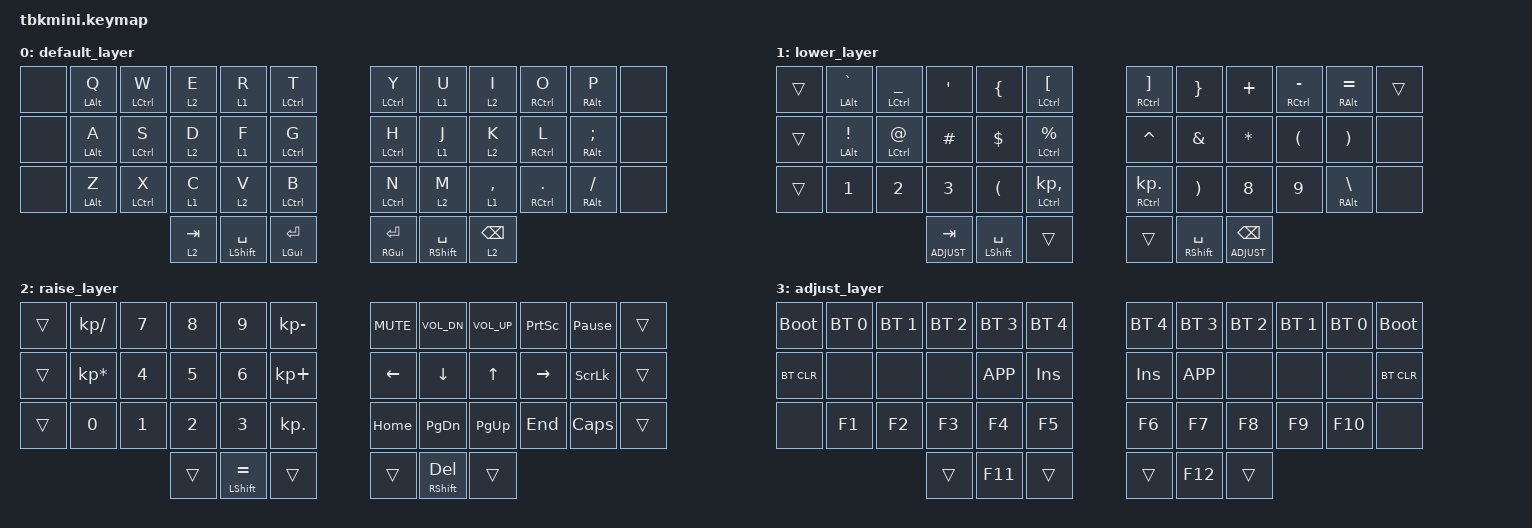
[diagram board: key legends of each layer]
#include <behaviors.dtsi>
#include <dt-bindings/zmk/keys.h>
#include <dt-bindings/zmk/outputs.h>
#include <dt-bindings/zmk/bt.h>

#define QWERTY 0
#define NUMB 1
#define NAVI 2
#define ADJUST 3

&lt {
    quick_tap_ms = <200>;
    flavor = "balanced";
};

&mt {
    quick_tap_ms = <200>;
    flavor = "balanced";
};

/ {
  chosen {
    zmk,matrix_transform = &default_transform;
  };



  behaviors {
    hm: homerow_mods {
      compatible = "zmk,behavior-hold-tap";
      label = "HOMEROW_MODS";
      #binding-cells = <2>;
      tapping-term-ms = <150>;
      quick_tap_ms = <150>;
      flavor = "tap-preferred";
      bindings = <&kp>, <&kp>;
    };
    lm: left_hand_positional_hold_tap {
      compatible = "zmk,behavior-hold-tap";
      label = "LEFT_HOMEROW_MODS";
      #binding-cells = <2>;
      flavor = "tap-unless-interrupted";
      tapping-term-ms = <200>;
      quick-tap-ms = <200>;
      bindings = <&kp>, <&kp>;
      hold-trigger-key-positions = <5 6 7 8 9 15 16 17 18 19 25 26 27 28 29>;
    };
    rm: right_hand_positional_hold_tap {
      compatible = "zmk,behavior-hold-tap";
      label = "RIGHT_HOMEROW_MODS";
      #binding-cells = <2>;
      flavor = "tap-unless-interrupted";
      tapping-term-ms = <200>;
      quick-tap-ms = <200>;
      bindings = <&kp>, <&kp>;
      hold-trigger-key-positions = <0 1 2 3 4 10 11 12 13 14 20 21 22 23 24>;
    };
  };

  combos {
        compatible = "zmk,combos";
        combo_esc_r {
            timeout-ms = <50>;
            key-positions = <3 4>;
            bindings = <&kp ESC>;
        };
        combo_esc_l {
            timeout-ms = <50>;
            key-positions = <7 8>;
            bindings = <&kp ESC>;
        };
        combo_caps_l {
            timeout-ms = <50>;
            key-positions = <2 3>;
            bindings = <&kp CAPS>;
        };
        combo_caps_r {
            timeout-ms = <50>;
            key-positions = <8 9>;
            bindings = <&kp CAPS>;
        };
    };

  keymap {
        compatible = "zmk,keymap";

                default_layer {
// .--------------------------------------------------------------.       .-----------------------------------------------------------.
// |   ESC        |    LALT/Q    |    W   |   E    |    R    |    T    |       |   Y   |    U    |    I    |    O    |     P    |    \     |
// |--------------+---------+--------+--------+---------+---------|       |-------+---------+---------+---------+----------+----------|
// |   CTRL/Tab   |    A    |    S   |   D    |    F    |    G    |       |   H   |    J    |    K    |    L    |     ;    |     '    |
// |--------------+---------+--------+--------+---------+---------|       |-------+---------+---------+---------+----------+----------|
// |   SHFT       |    Z    |    X   |   C    |    V    |    B    |       |   N   |    M    |    ,    |    .    |     /    | ` | ALT  |
// '---------------------------------+--------+---------+---------+       |-------+---------+---------+-------------------------------'
//                                   |  GUI   |   MO1   |   ENT   |       |  SPC  |   BKSP  |  CAPS   |
//                                   '--------+---------+---------'       '-------+---------+---------'
                        bindings = <
  &none &mt LALT Q  &mt LCTRL W    &lt 2 E          &lt 1 R   &mt LCTRL T   &mt LCTRL Y          &lt 1 U      &lt 2 I    &mt RCTRL O     &mt RALT P  &none  
        &none  &mt LALT A  &mt LCTRL S    &lt 2 D          &lt 1 F   &mt LCTRL G   &mt LCTRL H          &lt 1 J      &lt 2 K    &mt RCTRL L  &mt RALT SEMI  &none
        &none  &mt LALT Z  &mt LCTRL X    &lt 1 C          &lt 2 V   &mt LCTRL B   &mt LCTRL N          &lt 2 M  &lt 1 COMMA  &mt RCTRL DOT  &mt RALT FSLH  &none
                                           &lt 2 TAB  &mt LSHFT SPACE  &mt LGUI RET  &mt RGUI RET  &mt RSHFT SPACE   &lt 2 BSPC
            >;
                };
		
lower_layer {
// .--------------------------------------------------------------.       .-----------------------------------------------------------.
// |   ESC        |    1    |    2   |   3    |    4    |    5    |       |   6   |    7    |    8    |    9    |     0    |    `     |
// |--------------+---------+--------+--------+---------+---------|       |-------+---------+---------+---------+----------+----------|
// |              |    !    |    @   |   #    |    $    |    %    |       |   ^   |    &    |    *    |    (    |     )    |     :    |
// |--------------+---------+--------+--------+---------+---------|       |-------+---------+---------+---------+----------+----------|
// |   SHFT       |         |    +   |   -    |    {    |    [    |       |   ]   |    }    |    =    |    _    |          |          |
// '---------------------------------+--------+---------+---------+       |-------+---------+---------+-------------------------------'
//                                   |  GUI   |         |   MO3   |       |   ,   |    .    |   ?     |
//                                   '--------+---------+---------'       '-------+---------+---------'
                        bindings = <
   &trans  &mt LALT GRAVE  &mt LCTRL UNDER  &kp SINGLE_QUOTE   &kp LEFT_BRACE  &mt LCTRL LEFT_BRACKET  &mt RCTRL RIGHT_BRACKET  &kp RIGHT_BRACE  &kp PLUS  &mt RCTRL MINUS  &mt RALT EQUAL  &trans 
        &trans   &mt LALT EXCL     &mt LCTRL AT          &kp HASH         &kp DLLR         &mt LCTRL PRCNT                &kp CARET         &kp AMPS  &kp STAR         &kp LPAR        &kp RPAR  &none
        &trans          &kp N1           &kp N2            &kp N3         &kp LPAR      &mt LCTRL KP_COMMA         &mt RCTRL KP_DOT         &kp RPAR    &kp N8           &kp N9   &mt RALT BSLH  &none
                                                           &lt ADJUST TAB  &mt LSHFT SPACE                  &trans                   &trans   &mt RSHFT SPACE    &lt ADJUST BSPC
            >;
                };
                
                raise_layer {
// .----------------------------------------------------------------.       .-----------------------------------------------------------------.
// |   CMD+SHIFT+4  |       |   PU   |   UP   |    PD    |   HOME   |       |  HOME   |    PU    |    UP   |   PD    |          | CMD+SHIFT+4 |
// |----------------+-------+--------+--------+----------+----------|       |---------+----------+---------+---------+----------+-------------|
// |                |       |  LEFT  |  DOWN  |   RIGHT  |   END    |       |  END    |   LEFT   |   DOWN  |  RIGHT  |          |             |
// |----------------+-------+--------+--------+----------+----------|       |---------+----------+---------+---------+----------+-------------|
// |     OUT_TOG    |       |        |        |CTRL+LEFT |CTRL+RIGHT|       |CTRL+LEFT|CTRL+RIGHT|         |         |          |   OUT_TOG   |
// '---------------------------------+--------+----------+----------+       |---------+----------+---------+----------------------------------'
//                                   |  GUI   |   MO3    |          |       |         |          |         |
//                                   '--------+----------+----------'       '---------+----------+---------'

                        bindings = <
&trans     &kp KP_SLASH  &kp N7  &kp N8            &kp N9  &kp KP_MINUS  &kp C_MUTE      &kp C_VOL_DN  &kp C_VOL_UP  &kp PSCRN  &kp PAUSE_BREAK  &trans  
        &trans  &kp KP_MULTIPLY  &kp N4  &kp N5            &kp N6   &kp KP_PLUS    &kp LEFT          &kp DOWN        &kp UP  &kp RIGHT   &kp SCROLLLOCK  &trans
        &trans           &kp N0  &kp N1  &kp N2            &kp N3    &kp KP_DOT    &kp HOME           &kp PG_DN     &kp PG_UP  &kp END   &kp CAPS  &trans
                                         &trans  &mt LSHIFT EQUAL        &trans      &trans  &mt RSHFT DELETE        &trans
            >;
                };

                adjust_layer {
// .--------------------------------------------------------.       .--------------------------------------------------------------.
// |         |        |        |        |         |         |       |  VOL+  |        |         |         |          |             |
// |---------+--------+--------+--------+---------+---------|       |--------+--------+---------+---------+----------+-------------|
// |  BTCLR  |  BT1   |  BT2   |  BT3   |  BT4    |  BT5    |       |  VOL-  |        |         |         |          |             |
// |---------+--------+--------+--------+---------+---------|       |--------+--------+---------+---------+----------+-------------|
// |         |        |        |        |         |         |       |        |        |         |         |          |             |
// '---------------------------+--------+---------+---------+       |--------+--------+---------+----------------------------------'
//                             |        |         |         |       |        |        |         |
//                             '--------+---------+---------'       '--------+--------+---------'

                        bindings = <
  &bootloader  &bt BT_SEL 0  &bt BT_SEL 1  &bt BT_SEL 2  &bt BT_SEL 3  &bt BT_SEL 4  &bt BT_SEL 4  &bt BT_SEL 3  &bt BT_SEL 2  &bt BT_SEL 1  &bt BT_SEL 0  &bootloader  
         &bt BT_CLR         &none         &none         &none     &kp K_APP       &kp INS       &kp INS     &kp K_APP         &none         &none         &none   &bt BT_CLR
              &none        &kp F1        &kp F2        &kp F3        &kp F4        &kp F5        &kp F6        &kp F7        &kp F8        &kp F9       &kp F10        &none
                                                       &trans       &kp F11        &trans        &trans       &kp F12        &trans
            >;
                };

    };
};
